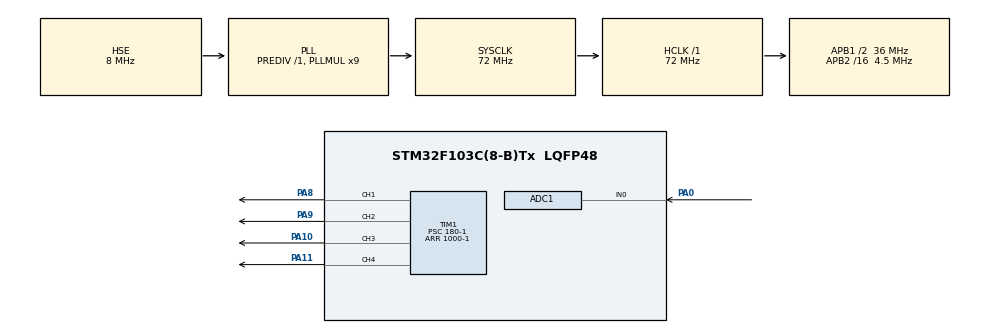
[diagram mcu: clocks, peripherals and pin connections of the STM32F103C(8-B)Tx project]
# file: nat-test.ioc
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ADC1.Channel-1\#ChannelRegularConversion=ADC_CHANNEL_0
ADC1.ContinuousConvMode=ENABLE
ADC1.NbrOfConversionFlag=1
ADC1.Rank-1\#ChannelRegularConversion=1
ADC1.SamplingTime-1\#ChannelRegularConversion=ADC_SAMPLETIME_239CYCLES_5
ADC1.master=1
Dma.ADC1.0.Direction=DMA_PERIPH_TO_MEMORY
Dma.ADC1.0.Instance=DMA1_Channel1
Dma.ADC1.0.MemDataAlignment=DMA_MDATAALIGN_HALFWORD
Dma.ADC1.0.MemInc=DMA_MINC_ENABLE
Dma.ADC1.0.Mode=DMA_CIRCULAR
Dma.ADC1.0.PeriphDataAlignment=DMA_PDATAALIGN_HALFWORD
Dma.ADC1.0.PeriphInc=DMA_PINC_DISABLE
Dma.ADC1.0.Priority=DMA_PRIORITY_LOW
Dma.Request0=ADC1
Mcu.Family=STM32F1
Mcu.Name=STM32F103C(8-B)Tx
Mcu.Package=LQFP48
NVIC.DMA1_Channel1_IRQn=true\:0\:0\:false\:false\:true\:false\:true\:true
NVIC.PriorityGroup=NVIC_PRIORITYGROUP_4
PA0-WKUP.Signal=ADCx_IN0
PA10.Signal=S_TIM1_CH3
PA11.Signal=S_TIM1_CH4
PA8.Signal=S_TIM1_CH1
PA9.Signal=S_TIM1_CH2
PD0-OSC_IN.Mode=HSE-External-Oscillator
PD0-OSC_IN.Signal=RCC_OSC_IN
PD1-OSC_OUT.Mode=HSE-External-Oscillator
PD1-OSC_OUT.Signal=RCC_OSC_OUT
ProjectManager.HeapSize=0x200
ProjectManager.StackSize=0x400
ProjectManager.TargetToolchain=STM32CubeIDE
RCC.AHBFreq_Value=72000000
RCC.APB1CLKDivider=RCC_HCLK_DIV2
RCC.APB1Freq_Value=36000000
RCC.APB1TimFreq_Value=72000000
RCC.APB2CLKDivider=RCC_HCLK_DIV16
RCC.APB2Freq_Value=4500000
RCC.APB2TimFreq_Value=9000000
RCC.HCLKFreq_Value=72000000
RCC.PLLMUL=RCC_PLL_MUL9
RCC.PLLSourceVirtual=RCC_PLLSOURCE_HSE
RCC.SYSCLKFreq_VALUE=72000000
RCC.SYSCLKSource=RCC_SYSCLKSOURCE_PLLCLK
RCC.USBFreq_Value=72000000
SH.ADCx_IN0.0=ADC1_IN0,IN0
SH.S_TIM1_CH1.0=TIM1_CH1,PWM Generation1 CH1
SH.S_TIM1_CH2.0=TIM1_CH2,PWM Generation2 CH2
SH.S_TIM1_CH3.0=TIM1_CH3,PWM Generation3 CH3
SH.S_TIM1_CH4.0=TIM1_CH4,PWM Generation4 CH4
TIM1.Channel-PWM\ Generation1\ CH1=TIM_CHANNEL_1
TIM1.Channel-PWM\ Generation2\ CH2=TIM_CHANNEL_2
TIM1.Channel-PWM\ Generation3\ CH3=TIM_CHANNEL_3
TIM1.Channel-PWM\ Generation4\ CH4=TIM_CHANNEL_4
TIM1.Period=1000-1
TIM1.Prescaler=180-1
VP_SYS_VS_ND.Mode=No_Debug
board=custom

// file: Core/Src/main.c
/* USER CODE BEGIN Header */
/**
  ******************************************************************************
  * @file           : main.c
  * @brief          : Main program body
  ******************************************************************************
  * @attention
  *
  * Copyright (c) 2024 STMicroelectronics.
  * All rights reserved.
  *
  * This software is licensed under terms that can be found in the LICENSE file
  * in the root directory of this software component.
  * If no LICENSE file comes with this software, it is provided AS-IS.
  *
  ******************************************************************************
  */
/* USER CODE END Header */
#include "main.h"

/* USER CODE BEGIN PTD */
#define Calibrate 1
/* USER CODE END PTD */

ADC_HandleTypeDef hadc1;
DMA_HandleTypeDef hdma_adc1;

TIM_HandleTypeDef htim1;

void SystemClock_Config(void);
static void MX_GPIO_Init(void);
static void MX_DMA_Init(void);
static void MX_TIM1_Init(void);
static void MX_ADC1_Init(void);

/* USER CODE BEGIN 0 */
/*uint16_t ADC_Data=0;
int ADC_Converted=0;

long map(long x, long in_min, long in_max, long out_min, long out_max)
{
  return (x - in_min) * (out_max - out_min + 1) / (in_max - in_min + 1) + out_min;
}*/

//void HAL_ADC_ConvCpltCallback(ADC_HandleTypeDef* hadc)
//{
	//ADC_Converted = map(ADC_Data, 0, 4095, 50, 120); //120 maior velocidade

	//TIM1->CCR1 = ADC_Converted;
	//TIM1->CCR2 = ADC_Converted;
	//TIM1->CCR3 = ADC_Converted;
	//TIM1->CCR4 = ADC_Converted;
//}

/* USER CODE END 0 */

int main(void)
{

  /* MCU Configuration--------------------------------------------------------*/

  /* Reset of all peripherals, Initializes the Flash interface and the Systick. */
  HAL_Init();

  /* Configure the system clock */
  SystemClock_Config();

  /* Initialize all configured peripherals */
  MX_GPIO_Init();
  MX_DMA_Init();
  MX_TIM1_Init();
  MX_ADC1_Init();
  /* USER CODE BEGIN 2 */

  HAL_TIM_PWM_Start(&htim1, TIM_CHANNEL_1);
  HAL_TIM_PWM_Start(&htim1, TIM_CHANNEL_2);
  HAL_TIM_PWM_Start(&htim1, TIM_CHANNEL_3);
  HAL_TIM_PWM_Start(&htim1, TIM_CHANNEL_4);

  #if Calibrate
    TIM1->CCR1 = 100;  // Set the maximum pulse (2ms)
    HAL_Delay (2000);  // wait for 1 beep
    TIM1->CCR1 = 50;   // Set the minimum Pulse (1ms)
    HAL_Delay (1000);  // wait for 2 beeps
    TIM1->CCR1 = 0;    // reset to 0, so it can be controlled via ADC
    TIM1->CCR2 = 100;  // Set the maximum pulse (2ms)
    HAL_Delay (2000);  // wait for 1 beep
    TIM1->CCR2 = 50;   // Set the minimum Pulse (1ms)
    HAL_Delay (1000);  // wait for 2 beeps
    TIM1->CCR2 = 0;    // reset to 0, so it can be controlled via ADC
    TIM1->CCR3 = 100;  // Set the maximum pulse (2ms)
    HAL_Delay (2000);  // wait for 1 beep
    TIM1->CCR3 = 50;   // Set the minimum Pulse (1ms)
    HAL_Delay (1000);  // wait for 2 beeps
    TIM1->CCR3 = 0;    // reset to 0, so it can be controlled via ADC
    TIM1->CCR4 = 100;  // Set the maximum pulse (2ms)
    HAL_Delay (2000);  // wait for 1 beep
    TIM1->CCR4 = 50;   // Set the minimum Pulse (1ms)
    HAL_Delay (1000);  // wait for 2 beeps
    TIM1->CCR4 = 0;    // reset to 0, so it can be controlled via ADC
  #endif

   //HAL_ADC_Start_DMA(&hadc1, (uint32_t *)&ADC_Data, 1);

   TIM1->CCR1 = 75;
   TIM1->CCR2 = 75;
   TIM1->CCR3 = 75;
   TIM1->CCR4 = 75;
   HAL_Delay (2000);

  /* USER CODE END 2 */

  /* Infinite loop */
  while (1)
  {

    /* USER CODE BEGIN 3 */

		TIM1->CCR1 = 50;
		TIM1->CCR2 = 50;
		TIM1->CCR3 = 50;
		TIM1->CCR4 = 50;

  }
  /* USER CODE END 3 */
}

void SystemClock_Config(void)
{
  RCC_OscInitTypeDef RCC_OscInitStruct = {0};
  RCC_ClkInitTypeDef RCC_ClkInitStruct = {0};
  RCC_PeriphCLKInitTypeDef PeriphClkInit = {0};

  /** Initializes the RCC Oscillators according to the specified parameters
  * in the RCC_OscInitTypeDef structure.
  */
  RCC_OscInitStruct.OscillatorType = RCC_OSCILLATORTYPE_HSE;
  RCC_OscInitStruct.HSEState = RCC_HSE_ON;
  RCC_OscInitStruct.HSEPredivValue = RCC_HSE_PREDIV_DIV1;
  RCC_OscInitStruct.HSIState = RCC_HSI_ON;
  RCC_OscInitStruct.PLL.PLLState = RCC_PLL_ON;
  RCC_OscInitStruct.PLL.PLLSource = RCC_PLLSOURCE_HSE;
  RCC_OscInitStruct.PLL.PLLMUL = RCC_PLL_MUL9;
  if (HAL_RCC_OscConfig(&RCC_OscInitStruct) != HAL_OK)
  {
    Error_Handler();
  }

  /** Initializes the CPU, AHB and APB buses clocks
  */
  RCC_ClkInitStruct.ClockType = RCC_CLOCKTYPE_HCLK|RCC_CLOCKTYPE_SYSCLK
                              |RCC_CLOCKTYPE_PCLK1|RCC_CLOCKTYPE_PCLK2;
  RCC_ClkInitStruct.SYSCLKSource = RCC_SYSCLKSOURCE_PLLCLK;
  RCC_ClkInitStruct.AHBCLKDivider = RCC_SYSCLK_DIV1;
  RCC_ClkInitStruct.APB1CLKDivider = RCC_HCLK_DIV2;
  RCC_ClkInitStruct.APB2CLKDivider = RCC_HCLK_DIV16;

  if (HAL_RCC_ClockConfig(&RCC_ClkInitStruct, FLASH_LATENCY_2) != HAL_OK)
  {
    Error_Handler();
  }
  PeriphClkInit.PeriphClockSelection = RCC_PERIPHCLK_ADC;
  PeriphClkInit.AdcClockSelection = RCC_ADCPCLK2_DIV2;
  if (HAL_RCCEx_PeriphCLKConfig(&PeriphClkInit) != HAL_OK)
  {
    Error_Handler();
  }
}

static void MX_ADC1_Init(void)
{

  ADC_ChannelConfTypeDef sConfig = {0};

  /** Common config
  */
  hadc1.Instance = ADC1;
  hadc1.Init.ScanConvMode = ADC_SCAN_DISABLE;
  hadc1.Init.ContinuousConvMode = ENABLE;
  hadc1.Init.DiscontinuousConvMode = DISABLE;
  hadc1.Init.ExternalTrigConv = ADC_SOFTWARE_START;
  hadc1.Init.DataAlign = ADC_DATAALIGN_RIGHT;
  hadc1.Init.NbrOfConversion = 1;
  if (HAL_ADC_Init(&hadc1) != HAL_OK)
  {
    Error_Handler();
  }

  /** Configure Regular Channel
  */
  sConfig.Channel = ADC_CHANNEL_0;
  sConfig.Rank = ADC_REGULAR_RANK_1;
  sConfig.SamplingTime = ADC_SAMPLETIME_239CYCLES_5;
  if (HAL_ADC_ConfigChannel(&hadc1, &sConfig) != HAL_OK)
  {
    Error_Handler();
  }

}

static void MX_TIM1_Init(void)
{

  TIM_MasterConfigTypeDef sMasterConfig = {0};
  TIM_OC_InitTypeDef sConfigOC = {0};
  TIM_BreakDeadTimeConfigTypeDef sBreakDeadTimeConfig = {0};

  htim1.Instance = TIM1;
  htim1.Init.Prescaler = 180-1;
  htim1.Init.CounterMode = TIM_COUNTERMODE_UP;
  htim1.Init.Period = 1000-1;
  htim1.Init.ClockDivision = TIM_CLOCKDIVISION_DIV1;
  htim1.Init.RepetitionCounter = 0;
  htim1.Init.AutoReloadPreload = TIM_AUTORELOAD_PRELOAD_DISABLE;
  if (HAL_TIM_PWM_Init(&htim1) != HAL_OK)
  {
    Error_Handler();
  }
  sMasterConfig.MasterOutputTrigger = TIM_TRGO_RESET;
  sMasterConfig.MasterSlaveMode = TIM_MASTERSLAVEMODE_DISABLE;
  if (HAL_TIMEx_MasterConfigSynchronization(&htim1, &sMasterConfig) != HAL_OK)
  {
    Error_Handler();
  }
  sConfigOC.OCMode = TIM_OCMODE_PWM1;
  sConfigOC.Pulse = 0;
  sConfigOC.OCPolarity = TIM_OCPOLARITY_HIGH;
  sConfigOC.OCNPolarity = TIM_OCNPOLARITY_HIGH;
  sConfigOC.OCFastMode = TIM_OCFAST_DISABLE;
  sConfigOC.OCIdleState = TIM_OCIDLESTATE_RESET;
  sConfigOC.OCNIdleState = TIM_OCNIDLESTATE_RESET;
  if (HAL_TIM_PWM_ConfigChannel(&htim1, &sConfigOC, TIM_CHANNEL_1) != HAL_OK)
  {
    Error_Handler();
  }
  if (HAL_TIM_PWM_ConfigChannel(&htim1, &sConfigOC, TIM_CHANNEL_2) != HAL_OK)
  {
    Error_Handler();
  }
  if (HAL_TIM_PWM_ConfigChannel(&htim1, &sConfigOC, TIM_CHANNEL_3) != HAL_OK)
  {
    Error_Handler();
  }
  if (HAL_TIM_PWM_ConfigChannel(&htim1, &sConfigOC, TIM_CHANNEL_4) != HAL_OK)
  {
    Error_Handler();
  }
  sBreakDeadTimeConfig.OffStateRunMode = TIM_OSSR_DISABLE;
  sBreakDeadTimeConfig.OffStateIDLEMode = TIM_OSSI_DISABLE;
  sBreakDeadTimeConfig.LockLevel = TIM_LOCKLEVEL_OFF;
  sBreakDeadTimeConfig.DeadTime = 0;
  sBreakDeadTimeConfig.BreakState = TIM_BREAK_DISABLE;
  sBreakDeadTimeConfig.BreakPolarity = TIM_BREAKPOLARITY_HIGH;
  sBreakDeadTimeConfig.AutomaticOutput = TIM_AUTOMATICOUTPUT_DISABLE;
  if (HAL_TIMEx_ConfigBreakDeadTime(&htim1, &sBreakDeadTimeConfig) != HAL_OK)
  {
    Error_Handler();
  }
  HAL_TIM_MspPostInit(&htim1);

}

static void MX_DMA_Init(void)
{

  /* DMA controller clock enable */
  __HAL_RCC_DMA1_CLK_ENABLE();

  /* DMA interrupt init */
  /* DMA1_Channel1_IRQn interrupt configuration */
  HAL_NVIC_SetPriority(DMA1_Channel1_IRQn, 0, 0);
  HAL_NVIC_EnableIRQ(DMA1_Channel1_IRQn);

}

static void MX_GPIO_Init(void)
{

  /* GPIO Ports Clock Enable */
  __HAL_RCC_GPIOD_CLK_ENABLE();
  __HAL_RCC_GPIOA_CLK_ENABLE();

}

void Error_Handler(void)
{
  __disable_irq();
  while (1)
  {
  }
}
